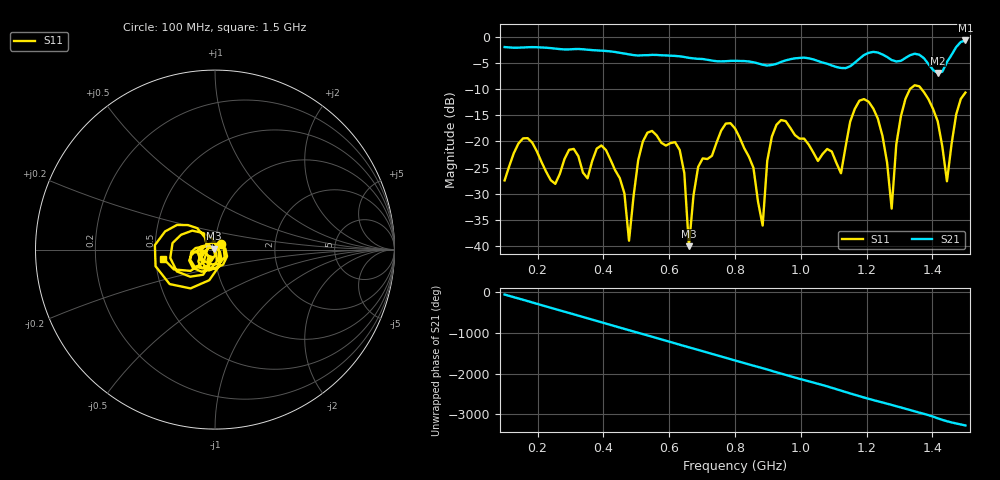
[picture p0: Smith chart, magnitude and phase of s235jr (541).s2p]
! NanoVNA-App
! Date: 2025-09-25 15:08:22
! Start: 100MHz Stop: 1,5GHz Points: 101
! S-Parameter data: F S11 S21 S12 S22
# Hz S RI R 50
!  Frequency  S11_Real  S11_Imag  S21_Real  S21_Imag  S12_Real  S12_Imag  S22_Real  S22_Imag
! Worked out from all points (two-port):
!   101 points, 100 MHz to 1.5 GHz, reference 50 ohm
!   highest |S21| = -0.70 dB at 1.5 GHz (marker M1); lowest = -6.9 dB at 1.416 GHz (marker M2)
!   |S21| within 3 dB of the highest: start of sweep to 625.9 MHz; 1.188 GHz to 1.257 GHz (69.67 MHz wide, 5.7 % of centre) (the widest 2 of 4)
!   lowest |S11| = -40.0 dB at 660 MHz (marker M3), VSWR 1.02, Z = 49.2 + j0.559 ohm
!   |S11| at or under -10 dB: start of sweep to 1.332 GHz; 1.367 GHz to end of sweep
!   S12 and S22 are empty: the file has one direction only
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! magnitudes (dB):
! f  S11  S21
! 100 MHz  -27.5  -2.0
! 156 MHz  -19.4  -2.0
! 338 MHz  -26.0  -2.4
! 408 MHz  -21.7  -2.7
! 478 MHz  -39.0  -3.4
! 520 MHz  -20.0  -3.5
! 576 MHz  -20.3  -3.5
! 632 MHz  -21.7  -3.7
! 660 MHz  -40.0  -4.0
! 688 MHz  -24.9  -4.2
! 800 MHz  -17.5  -4.6
! 884 MHz  -36.1  -5.3
! 926 MHz  -16.8  -5.2
! 1.038 GHz  -22.1  -4.3
! 1.122 GHz  -26.1  -6.0
! 1.206 GHz  -12.4  -3.1
! 1.276 GHz  -32.9  -4.5
! 1.29 GHz  -20.6  -4.7
! 1.332 GHz  -10.0  -3.5
! 1.416 GHz  -16.2  -6.9
! 1.444 GHz  -27.6  -4.8
! 1.5 GHz  -10.7  -0.7
